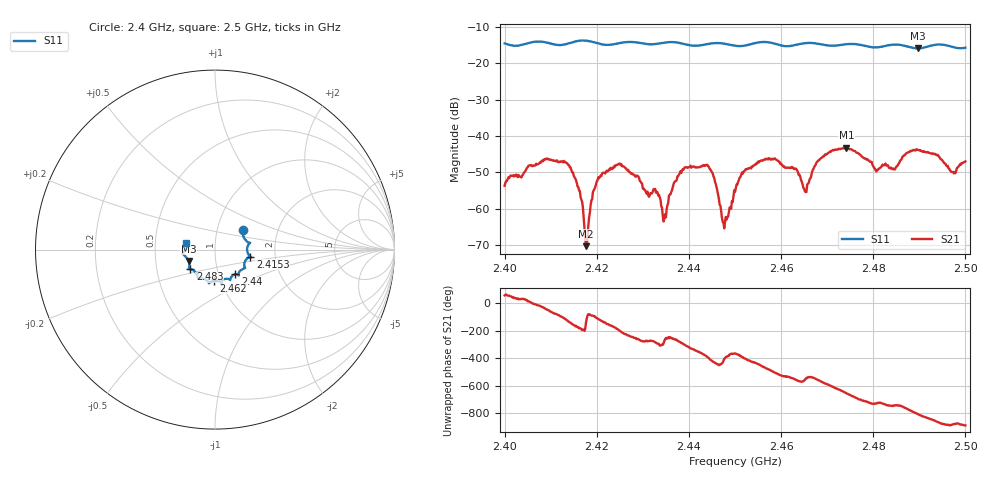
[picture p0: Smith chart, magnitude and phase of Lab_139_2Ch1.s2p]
# Hz S RI R 50
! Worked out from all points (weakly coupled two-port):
!   601 points, 2.4 GHz to 2.5 GHz, reference 50 ohm
!   highest |S21| = -43.25 dB at 2.4742 GHz (marker M1); lowest = -70.4 dB at 2.4177 GHz (marker M2)
!   lowest |S11| = -15.9 dB at 2.4897 GHz (marker M3), VSWR 1.38, Z = 36.9 - j4.81 ohm
!   |S11| at or under -10 dB: start of sweep to end of sweep
!   S12 and S22 are empty: the file has one direction only
!   S11 on the Smith chart (normalised r, x): 2.4 GHz: 1.33, +0.29; 2.4153 GHz: 1.48, -0.12; 2.44 GHz: 1.20, -0.34; 2.462 GHz: 0.93, -0.33; 2.483 GHz: 0.74, -0.17; 2.5 GHz: 0.72, +0.06
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2.4e9  0.1552 0.1067  0.00109 0.00174  0 0  0 0
2.409e9  0.1915 0.0339  0.00358 -0.00331  0 0  0 0
2.415333e9  0.1963 -0.0386  -0.00252 -0.000617  0 0  0 0
2.416667e9  0.2018 -0.0427  -0.0013 0.000241  0 0  0 0
2.417667e9  0.2007 -0.0424  -0.00023 -0.000198  0 0  0 0
2.420167e9  0.183 -0.0467  -0.000835 -0.00231  0 0  0 0
2.4245e9  0.1636 -0.0919  -0.00399 0.000558  0 0  0 0
2.433333e9  0.1312 -0.1335  0.000599 0.00139  0 0  0 0
2.434833e9  0.1307 -0.1427  -0.000121 0.000826  0 0  0 0
2.44e9  0.1141 -0.1368  0.00285 0.00234  0 0  0 0
2.4445e9  0.0848 -0.1663  0.00238 -0.00255  0 0  0 0
2.447667e9  0.0823 -0.1672  0.00038 -0.000373  0 0  0 0
2.45e9  0.0646 -0.1627  0.00169 -0.000144  0 0  0 0
2.455333e9  0.0368 -0.1916  0.000209 -0.0045  0 0  0 0
2.462e9  -0.00513 -0.1731  -0.00361 -6.74e-06  0 0  0 0
2.465167e9  -0.0324 -0.1867  -0.00165 0.000542  0 0  0 0
2.466667e9  -0.0343 -0.1876  -0.00309 1.87e-05  0 0  0 0
2.474167e9  -0.0884 -0.1608  0.00296 0.00621  0 0  0 0
2.483e9  -0.1377 -0.1096  0.00362 -0.00152  0 0  0 0
2.483333e9  -0.1401 -0.1094  0.00335 -0.00163  0 0  0 0
2.489667e9  -0.1473 -0.0635  0.000362 -0.00645  0 0  0 0
2.5e9  -0.1596 0.0391  -0.00439 -0.000791  0 0  0 0
